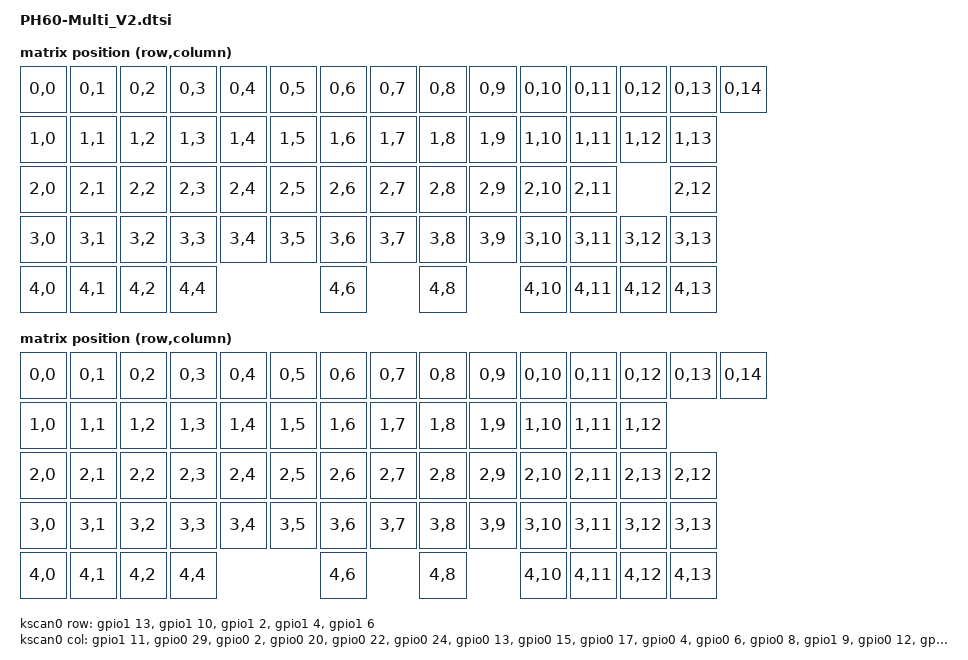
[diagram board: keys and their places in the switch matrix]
/*
 * Copyright (c) 2025 Team PHDesign
 *
 * SPDX-License-Identifier: MIT
 */

#include <dt-bindings/zmk/matrix_transform.h>
#include <physical_layouts.dtsi>
#include "PH60-Multi_V2-layouts.dtsi"

/ {
	chosen {
		zmk,kscan = &kscan0;
		zmk,physical-layout = &ph60_ansi_layout;
	};



	default_transform: keymap_transform_0 {
		compatible = "zmk,matrix-transform";
		columns = <15>;
		rows = <5>;
		map = <
			RC(0,0) RC(0,1) RC(0,2) RC(0,3) RC(0,4) RC(0,5) RC(0,6) RC(0,7) RC(0,8) RC(0,9) RC(0,10) RC(0,11) RC(0,12) RC(0,13) RC(0,14)
			RC(1,0) RC(1,1) RC(1,2) RC(1,3) RC(1,4) RC(1,5) RC(1,6) RC(1,7) RC(1,8) RC(1,9) RC(1,10) RC(1,11) RC(1,12) RC(1,13)
			RC(2,0) RC(2,1) RC(2,2) RC(2,3) RC(2,4) RC(2,5) RC(2,6) RC(2,7) RC(2,8) RC(2,9) RC(2,10) RC(2,11)          RC(2,12)
			RC(3,0) RC(3,1) RC(3,2) RC(3,3) RC(3,4) RC(3,5) RC(3,6) RC(3,7) RC(3,8) RC(3,9) RC(3,10) RC(3,11) RC(3,12) RC(3,13)
			RC(4,0) RC(4,1) RC(4,2) RC(4,4)                 RC(4,6)         RC(4,8)         RC(4,10) RC(4,11) RC(4,12) RC(4,13)
		>;
	};

	iso_transform: keymap_transform_1 {
		compatible = "zmk,matrix-transform";
		columns = <15>;
		rows = <5>;
		map = <
			RC(0,0) RC(0,1) RC(0,2) RC(0,3) RC(0,4) RC(0,5) RC(0,6) RC(0,7) RC(0,8) RC(0,9) RC(0,10) RC(0,11) RC(0,12) RC(0,13) RC(0,14)
			RC(1,0) RC(1,1) RC(1,2) RC(1,3) RC(1,4) RC(1,5) RC(1,6) RC(1,7) RC(1,8) RC(1,9) RC(1,10) RC(1,11) RC(1,12) 
			RC(2,0) RC(2,1) RC(2,2) RC(2,3) RC(2,4) RC(2,5) RC(2,6) RC(2,7) RC(2,8) RC(2,9) RC(2,10) RC(2,11) RC(2,13) RC(2,12)
			RC(3,0) RC(3,1) RC(3,2) RC(3,3) RC(3,4) RC(3,5) RC(3,6) RC(3,7) RC(3,8) RC(3,9) RC(3,10) RC(3,11) RC(3,12) RC(3,13)
			RC(4,0) RC(4,1) RC(4,2) RC(4,4)                 RC(4,6)         RC(4,8)         RC(4,10) RC(4,11) RC(4,12) RC(4,13)
		>;
	};

	kscan0: kscan {
		compatible = "zmk,kscan-gpio-matrix";
		label = "KSCAN";
		diode-direction = "col2row";
		wakeup-source;
		
		row-gpios
			= <&gpio1 13 (GPIO_ACTIVE_HIGH | GPIO_PULL_DOWN)>
			, <&gpio1 10 (GPIO_ACTIVE_HIGH | GPIO_PULL_DOWN)>
			, <&gpio1 2 (GPIO_ACTIVE_HIGH | GPIO_PULL_DOWN)>
			, <&gpio1 4 (GPIO_ACTIVE_HIGH | GPIO_PULL_DOWN)>
			, <&gpio1 6 (GPIO_ACTIVE_HIGH | GPIO_PULL_DOWN)>
			;
		
		col-gpios
			= <&gpio1 11 GPIO_ACTIVE_HIGH>
			, <&gpio0 29 GPIO_ACTIVE_HIGH>
			, <&gpio0 2 GPIO_ACTIVE_HIGH>
			, <&gpio0 20 GPIO_ACTIVE_HIGH>
			, <&gpio0 22 GPIO_ACTIVE_HIGH>
			, <&gpio0 24 GPIO_ACTIVE_HIGH>
			, <&gpio0 13 GPIO_ACTIVE_HIGH>
			, <&gpio0 15 GPIO_ACTIVE_HIGH>
			, <&gpio0 17 GPIO_ACTIVE_HIGH>
			, <&gpio0 4 GPIO_ACTIVE_HIGH>
			, <&gpio0 6 GPIO_ACTIVE_HIGH>
			, <&gpio0 8 GPIO_ACTIVE_HIGH>
			, <&gpio1 9 GPIO_ACTIVE_HIGH>
			, <&gpio0 12 GPIO_ACTIVE_HIGH>
			, <&gpio0 26 GPIO_ACTIVE_HIGH>
			;
	};
};
